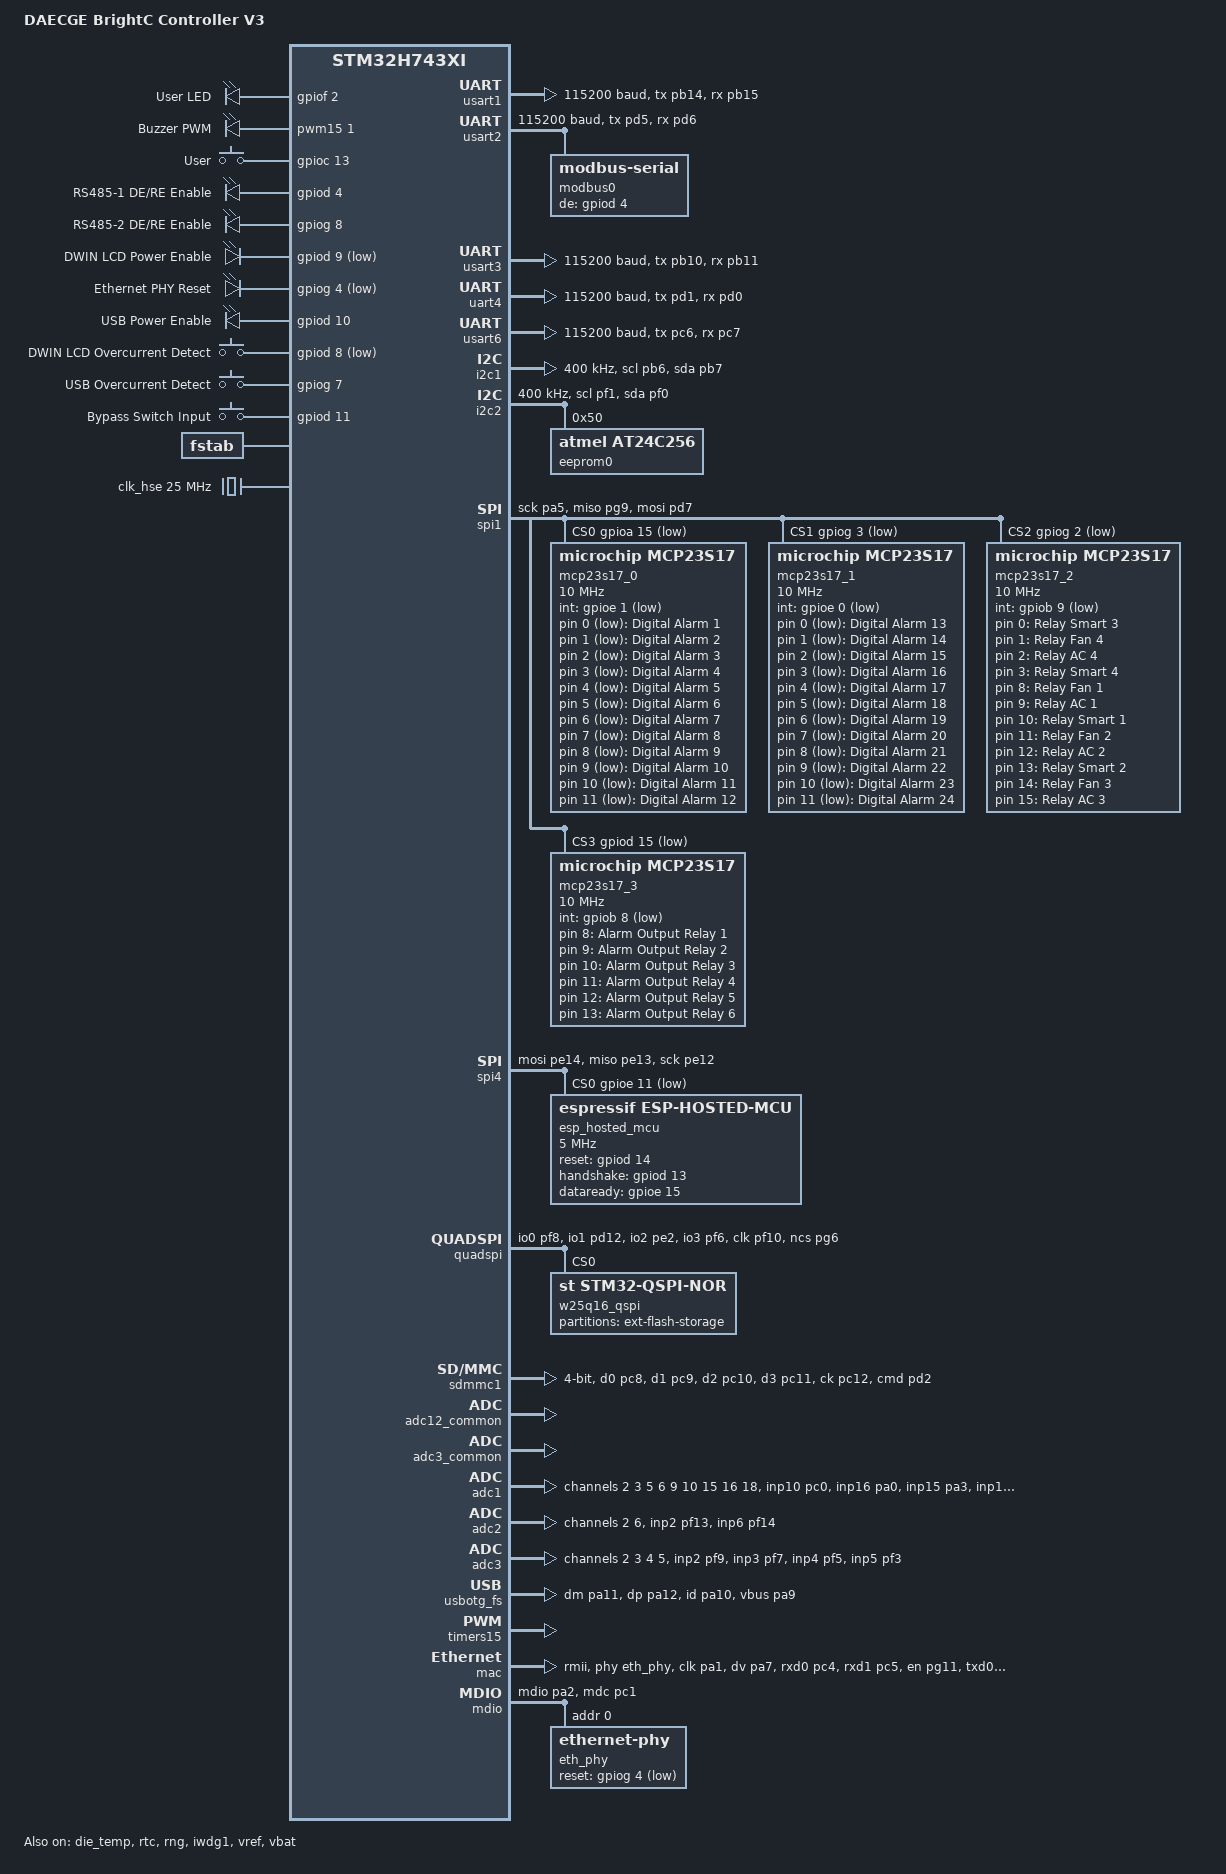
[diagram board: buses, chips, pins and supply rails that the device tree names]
/*
 * Copyright (c) 2026 DAECGE
 *
 * SPDX-License-Identifier: Apache-2.0
 *
 * BrightC Controller V3 — based on STM32H743ZIT6 (LQFP144)
 * Hardware reference: doc/brightcV3.md
 */

/dts-v1/;
#include <st/h7/stm32h743Xi.dtsi>
#include <st/h7/stm32h743zitx-pinctrl.dtsi>
#include <zephyr/dt-bindings/input/input-event-codes.h>
#include <zephyr/dt-bindings/dma/stm32_dma.h>

/ {
	model = "DAECGE BrightC Controller V3";
	compatible = "daecge,brightc-controllerv3";

	chosen {
		zephyr,console = &usart1;
		zephyr,shell-uart = &usart1;
		zephyr,sram = &sram0;
		zephyr,flash = &flash0;
		zephyr,dtcm = &dtcm;
		zephyr,code-partition = &slot0_partition;
		zephyr,wifi = &esp_hosted_mcu_wifi;
		zephyr,bt-hci = &esp_hosted_mcu_hci;
	};

	leds {
		compatible = "gpio-leds";

		user_led: led_0 {
			gpios = <&gpiof 2 GPIO_ACTIVE_HIGH>;
			label = "User LED";
		};
	};

	buzzer {
		compatible = "pwm-leds";

		buzzer_pwm: buzzer {
			pwms = <&pwm15 1 PWM_MSEC(1) PWM_POLARITY_NORMAL>;
			label = "Buzzer PWM";
		};
	};

	gpio_keys {
		compatible = "gpio-keys";

		user_button: button_0 {
			label = "User";
			gpios = <&gpioc 13 GPIO_ACTIVE_HIGH>;
			zephyr,code = <INPUT_KEY_0>;
		};
	};

	digital_alarms {
		compatible = "gpio-keys";

		alm_in_1: alm_in_1 { gpios = <&mcp23s17_0 0 (GPIO_ACTIVE_LOW | GPIO_PULL_UP)>; label = "Digital Alarm 1"; zephyr,code = <INPUT_KEY_1>; };
		alm_in_2: alm_in_2 { gpios = <&mcp23s17_0 1 (GPIO_ACTIVE_LOW | GPIO_PULL_UP)>; label = "Digital Alarm 2"; zephyr,code = <INPUT_KEY_2>; };
		alm_in_3: alm_in_3 { gpios = <&mcp23s17_0 2 (GPIO_ACTIVE_LOW | GPIO_PULL_UP)>; label = "Digital Alarm 3"; zephyr,code = <INPUT_KEY_3>; };
		alm_in_4: alm_in_4 { gpios = <&mcp23s17_0 3 (GPIO_ACTIVE_LOW | GPIO_PULL_UP)>; label = "Digital Alarm 4"; zephyr,code = <INPUT_KEY_4>; };
		alm_in_5: alm_in_5 { gpios = <&mcp23s17_0 4 (GPIO_ACTIVE_LOW | GPIO_PULL_UP)>; label = "Digital Alarm 5"; zephyr,code = <INPUT_KEY_5>; };
		alm_in_6: alm_in_6 { gpios = <&mcp23s17_0 5 (GPIO_ACTIVE_LOW | GPIO_PULL_UP)>; label = "Digital Alarm 6"; zephyr,code = <INPUT_KEY_6>; };
		alm_in_7: alm_in_7 { gpios = <&mcp23s17_0 6 (GPIO_ACTIVE_LOW | GPIO_PULL_UP)>; label = "Digital Alarm 7"; zephyr,code = <INPUT_KEY_7>; };
		alm_in_8: alm_in_8 { gpios = <&mcp23s17_0 7 (GPIO_ACTIVE_LOW | GPIO_PULL_UP)>; label = "Digital Alarm 8"; zephyr,code = <INPUT_KEY_8>; };
		alm_in_9: alm_in_9 { gpios = <&mcp23s17_0 8 (GPIO_ACTIVE_LOW | GPIO_PULL_UP)>; label = "Digital Alarm 9"; zephyr,code = <INPUT_KEY_9>; };
		alm_in_10: alm_in_10 { gpios = <&mcp23s17_0 9 (GPIO_ACTIVE_LOW | GPIO_PULL_UP)>; label = "Digital Alarm 10"; zephyr,code = <INPUT_KEY_A>; };
		alm_in_11: alm_in_11 { gpios = <&mcp23s17_0 10 (GPIO_ACTIVE_LOW | GPIO_PULL_UP)>; label = "Digital Alarm 11"; zephyr,code = <INPUT_KEY_B>; };
		alm_in_12: alm_in_12 { gpios = <&mcp23s17_0 11 (GPIO_ACTIVE_LOW | GPIO_PULL_UP)>; label = "Digital Alarm 12"; zephyr,code = <INPUT_KEY_C>; };

		alm_in_13: alm_in_13 { gpios = <&mcp23s17_1 0 (GPIO_ACTIVE_LOW | GPIO_PULL_UP)>; label = "Digital Alarm 13"; zephyr,code = <INPUT_KEY_D>; };
		alm_in_14: alm_in_14 { gpios = <&mcp23s17_1 1 (GPIO_ACTIVE_LOW | GPIO_PULL_UP)>; label = "Digital Alarm 14"; zephyr,code = <INPUT_KEY_E>; };
		alm_in_15: alm_in_15 { gpios = <&mcp23s17_1 2 (GPIO_ACTIVE_LOW | GPIO_PULL_UP)>; label = "Digital Alarm 15"; zephyr,code = <INPUT_KEY_F>; };
		alm_in_16: alm_in_16 { gpios = <&mcp23s17_1 3 (GPIO_ACTIVE_LOW | GPIO_PULL_UP)>; label = "Digital Alarm 16"; zephyr,code = <INPUT_KEY_G>; };
		alm_in_17: alm_in_17 { gpios = <&mcp23s17_1 4 (GPIO_ACTIVE_LOW | GPIO_PULL_UP)>; label = "Digital Alarm 17"; zephyr,code = <INPUT_KEY_H>; };
		alm_in_18: alm_in_18 { gpios = <&mcp23s17_1 5 (GPIO_ACTIVE_LOW | GPIO_PULL_UP)>; label = "Digital Alarm 18"; zephyr,code = <INPUT_KEY_I>; };
		alm_in_19: alm_in_19 { gpios = <&mcp23s17_1 6 (GPIO_ACTIVE_LOW | GPIO_PULL_UP)>; label = "Digital Alarm 19"; zephyr,code = <INPUT_KEY_J>; };
		alm_in_20: alm_in_20 { gpios = <&mcp23s17_1 7 (GPIO_ACTIVE_LOW | GPIO_PULL_UP)>; label = "Digital Alarm 20"; zephyr,code = <INPUT_KEY_K>; };
		alm_in_21: alm_in_21 { gpios = <&mcp23s17_1 8 (GPIO_ACTIVE_LOW | GPIO_PULL_UP)>; label = "Digital Alarm 21"; zephyr,code = <INPUT_KEY_L>; };
		alm_in_22: alm_in_22 { gpios = <&mcp23s17_1 9 (GPIO_ACTIVE_LOW | GPIO_PULL_UP)>; label = "Digital Alarm 22"; zephyr,code = <INPUT_KEY_M>; };
		alm_in_23: alm_in_23 { gpios = <&mcp23s17_1 10 (GPIO_ACTIVE_LOW | GPIO_PULL_UP)>; label = "Digital Alarm 23"; zephyr,code = <INPUT_KEY_N>; };
		alm_in_24: alm_in_24 { gpios = <&mcp23s17_1 11 (GPIO_ACTIVE_LOW | GPIO_PULL_UP)>; label = "Digital Alarm 24"; zephyr,code = <INPUT_KEY_O>; };
	};

	hvac_relays {
		compatible = "gpio-leds";

		relay_sm3: relay_sm3 { gpios = <&mcp23s17_2 0 GPIO_ACTIVE_HIGH>; label = "Relay Smart 3"; };
		relay_g4:  relay_g4  { gpios = <&mcp23s17_2 1 GPIO_ACTIVE_HIGH>; label = "Relay Fan 4"; };
		relay_aa4: relay_aa4 { gpios = <&mcp23s17_2 2 GPIO_ACTIVE_HIGH>; label = "Relay AC 4"; };
		relay_sm4: relay_sm4 { gpios = <&mcp23s17_2 3 GPIO_ACTIVE_HIGH>; label = "Relay Smart 4"; };

		relay_g1:  relay_g1  { gpios = <&mcp23s17_2 8 GPIO_ACTIVE_HIGH>; label = "Relay Fan 1"; };
		relay_aa1: relay_aa1 { gpios = <&mcp23s17_2 9 GPIO_ACTIVE_HIGH>; label = "Relay AC 1"; };
		relay_sm1: relay_sm1 { gpios = <&mcp23s17_2 10 GPIO_ACTIVE_HIGH>; label = "Relay Smart 1"; };
		relay_g2:  relay_g2  { gpios = <&mcp23s17_2 11 GPIO_ACTIVE_HIGH>; label = "Relay Fan 2"; };
		relay_aa2: relay_aa2 { gpios = <&mcp23s17_2 12 GPIO_ACTIVE_HIGH>; label = "Relay AC 2"; };
		relay_sm2: relay_sm2 { gpios = <&mcp23s17_2 13 GPIO_ACTIVE_HIGH>; label = "Relay Smart 2"; };
		relay_g3:  relay_g3  { gpios = <&mcp23s17_2 14 GPIO_ACTIVE_HIGH>; label = "Relay Fan 3"; };
		relay_aa3: relay_aa3 { gpios = <&mcp23s17_2 15 GPIO_ACTIVE_HIGH>; label = "Relay AC 3"; };
	};

	alarm_relays {
		compatible = "gpio-leds";

		alm_out_1: alm_out_1 { gpios = <&mcp23s17_3 8 GPIO_ACTIVE_HIGH>; label = "Alarm Output Relay 1"; };
		alm_out_2: alm_out_2 { gpios = <&mcp23s17_3 9 GPIO_ACTIVE_HIGH>; label = "Alarm Output Relay 2"; };
		alm_out_3: alm_out_3 { gpios = <&mcp23s17_3 10 GPIO_ACTIVE_HIGH>; label = "Alarm Output Relay 3"; };
		alm_out_4: alm_out_4 { gpios = <&mcp23s17_3 11 GPIO_ACTIVE_HIGH>; label = "Alarm Output Relay 4"; };
		alm_out_5: alm_out_5 { gpios = <&mcp23s17_3 12 GPIO_ACTIVE_HIGH>; label = "Alarm Output Relay 5"; };
		alm_out_6: alm_out_6 { gpios = <&mcp23s17_3 13 GPIO_ACTIVE_HIGH>; label = "Alarm Output Relay 6"; };
	};

	board_gpio_controls {
		compatible = "gpio-leds";

		rs485_1_de: rs485_1_de { gpios = <&gpiod 4 GPIO_ACTIVE_HIGH>; label = "RS485-1 DE/RE Enable"; };
		rs485_2_de: rs485_2_de { gpios = <&gpiog 8 GPIO_ACTIVE_HIGH>; label = "RS485-2 DE/RE Enable"; };
		dwin_en:    dwin_en    { gpios = <&gpiod 9 GPIO_ACTIVE_LOW>; label = "DWIN LCD Power Enable"; };
		eth_phy_rst: eth_phy_rst { gpios = <&gpiog 4 GPIO_ACTIVE_LOW>; label = "Ethernet PHY Reset"; };
		usb_pwr_on: usb_pwr_on { gpios = <&gpiod 10 GPIO_ACTIVE_HIGH>; label = "USB Power Enable"; };
	};

	board_gpio_inputs {
		compatible = "gpio-keys";

		dwin_ovc:   dwin_ovc   { gpios = <&gpiod 8 GPIO_ACTIVE_LOW>; label = "DWIN LCD Overcurrent Detect"; zephyr,code = <INPUT_KEY_1>; };
		usb_ovcr:   usb_ovcr   { gpios = <&gpiog 7 GPIO_ACTIVE_HIGH>; label = "USB Overcurrent Detect"; zephyr,code = <INPUT_KEY_2>; };
		sw_bypass:  sw_bypass  { gpios = <&gpiod 11 GPIO_ACTIVE_HIGH>; label = "Bypass Switch Input"; zephyr,code = <INPUT_KEY_3>; };
	};

	aliases {
		led0 = &user_led;
		rtc = &rtc;
		sw0 = &user_button;
		watchdog0 = &iwdg;
		die-temp0 = &die_temp;
		volt-sensor0 = &vref;
		volt-sensor1 = &vbat;
		eeprom0 = &eeprom0;
		storage-flash = &w25q16_qspi;
	};

	fstab {
		compatible = "zephyr,fstab";

		lfs_ext: lfs_ext {
			compatible = "zephyr,fstab,littlefs";
			mount-point = "/lfs";
			partition = <&external_flash_partition>;
			read-size = <16>;
			prog-size = <16>;
			cache-size = <64>;
			lookahead-size = <32>;
			block-cycles = <512>;
		};
	};
};

/* ---- Clocks ---- */

&clk_lsi {
	status = "okay";
};

&clk_lse {
	status = "okay";
};

&clk_hsi48 {
	status = "okay";
};

&clk_hse {
	clock-frequency = <DT_FREQ_M(25)>; /* 25 MHz crystal on PH0/PH1 */
	status = "okay";
};

&pll {
	div-m = <5>;    /* VCO in  = 25/5 = 5 MHz */
	mul-n = <192>;  /* VCO     = 5*192 = 960 MHz */
	div-p = <2>;    /* sysclk  = 960/2 = 480 MHz */
	div-q = <2>;
	div-r = <2>;
	clocks = <&clk_hse>;
	status = "okay";
};

&rcc {
	clocks = <&pll>;
	clock-frequency = <DT_FREQ_M(480)>;
	d1cpre = <1>;
	hpre = <2>;
	d1ppre = <2>;
	d2ppre1 = <2>;
	d2ppre2 = <2>;
	d3ppre = <2>;
};

&pwr {
	power-supply = "ldo";
};

/* ---- Serial: Console (USART1 on PB14/PB15) ---- */

&usart1 {
	pinctrl-0 = <&usart1_tx_pb14 &usart1_rx_pb15>;
	pinctrl-names = "default";
	current-speed = <115200>;
	status = "okay";
};

&usart2 {
	pinctrl-0 = <&usart2_tx_pd5 &usart2_rx_pd6>;
	pinctrl-names = "default";
	current-speed = <115200>;
	status = "okay";

	modbus0: modbus0 {
		compatible = "zephyr,modbus-serial";
		status = "okay";
		de-gpios = <&gpiod 4 GPIO_ACTIVE_HIGH>;
	};
};

/* ---- Serial: DWIN LCD (USART3 on PB10/PB11) ---- */

&usart3 {
	pinctrl-0 = <&usart3_tx_pb10 &usart3_rx_pb11>;
	pinctrl-names = "default";
	current-speed = <115200>;
	status = "okay";
};

/* ---- Serial: ESP32 (UART4 on PD1/TX, PD0/RX with DMA TX/RX) ---- */

&uart4 {
	pinctrl-0 = <&uart4_tx_pd1 &uart4_rx_pd0>;
	pinctrl-names = "default";
	current-speed = <115200>;
	dmas = <&dmamux1 5 64 (STM32_DMA_PERIPH_TX | STM32_DMA_PRIORITY_HIGH)>,
	       <&dmamux1 6 63 (STM32_DMA_PERIPH_RX | STM32_DMA_PRIORITY_HIGH)>;
	dma-names = "tx", "rx";
	status = "okay";
};

/* ---- Serial: RS485-2 (USART6 on PC6/PC7, DE on PG8) ---- */

&usart6 {
	pinctrl-0 = <&usart6_tx_pc6 &usart6_rx_pc7>;
	pinctrl-names = "default";
	current-speed = <115200>;
	status = "okay";
};

/* ---- I2C1: DHT22 sensor (PB7/SDA, PB6/SCL) ---- */

&i2c1 {
	pinctrl-0 = <&i2c1_scl_pb6 &i2c1_sda_pb7>;
	pinctrl-names = "default";
	clock-frequency = <I2C_BITRATE_FAST>;
	status = "okay";
};

/* ---- I2C2: AT24C256C EEPROM (PF1/SCL, PF0/SDA) ---- */

&i2c2 {
	pinctrl-0 = <&i2c2_scl_pf1 &i2c2_sda_pf0>;
	pinctrl-names = "default";
	clock-frequency = <I2C_BITRATE_FAST>;
	status = "okay";

	eeprom0: eeprom@50 {
		compatible = "atmel,at24c256", "atmel,at24";
		reg = <0x50>;
		size = <DT_SIZE_K(32)>;
		pagesize = <64>;
		address-width = <16>;
		timeout = <5>;
		status = "okay";
	};
};

/* ---- SPI1: MultiSPI for MCP23S17 I/O expanders (PD7/MOSI, PG9/MISO, PA5/SCK) ---- */

&spi1 {
	pinctrl-0 = <&spi1_sck_pa5 &spi1_miso_pg9 &spi1_mosi_pd7>;
	pinctrl-names = "default";
	cs-gpios = <&gpioa 15 GPIO_ACTIVE_LOW>,
		   <&gpiog 3 GPIO_ACTIVE_LOW>,
		   <&gpiog 2 GPIO_ACTIVE_LOW>,
		   <&gpiod 15 GPIO_ACTIVE_LOW>;
	status = "okay";

	mcp23s17_0: mcp23s17@0 {
		compatible = "microchip,mcp23s17";
		reg = <0>;
		spi-max-frequency = <10000000>;
		gpio-controller;
		#gpio-cells = <2>;
		int-gpios = <&gpioe 1 GPIO_ACTIVE_LOW>;
		status = "okay";
	};

	mcp23s17_1: mcp23s17@1 {
		compatible = "microchip,mcp23s17";
		reg = <1>;
		spi-max-frequency = <10000000>;
		gpio-controller;
		#gpio-cells = <2>;
		int-gpios = <&gpioe 0 GPIO_ACTIVE_LOW>;
		status = "okay";
	};

	mcp23s17_2: mcp23s17@2 {
		compatible = "microchip,mcp23s17";
		reg = <2>;
		spi-max-frequency = <10000000>;
		gpio-controller;
		#gpio-cells = <2>;
		int-gpios = <&gpiob 9 GPIO_ACTIVE_LOW>;
		status = "okay";
	};

	mcp23s17_3: mcp23s17@3 {
		compatible = "microchip,mcp23s17";
		reg = <3>;
		spi-max-frequency = <10000000>;
		gpio-controller;
		#gpio-cells = <2>;
		int-gpios = <&gpiob 8 GPIO_ACTIVE_LOW>;
		status = "okay";
	};
};

/* ---- SPI4: ESP32 esp-hosted-mcu (PE14/MOSI, PE13/MISO, PE12/SCK, PE11/NSS, PD13/HS, PE15/DR, PD14/NRST) ---- */

&spi4 {
	pinctrl-0 = <&spi4_mosi_pe14 &spi4_miso_pe13 &spi4_sck_pe12>;
	pinctrl-names = "default";
	cs-gpios = <&gpioe 11 GPIO_ACTIVE_LOW>;
	status = "okay";

	esp_hosted_mcu: esp-hosted-mcu@0 {
		compatible = "espressif,esp-hosted-mcu";
		reg = <0>;
		spi-max-frequency = <DT_FREQ_M(5)>;
		reset-gpios = <&gpiod 14 GPIO_ACTIVE_HIGH>;
		handshake-gpios = <&gpiod 13 GPIO_ACTIVE_HIGH>;
		dataready-gpios = <&gpioe 15 GPIO_ACTIVE_HIGH>;
		status = "okay";

		esp_hosted_mcu_wifi: wifi {
			compatible = "espressif,esp-hosted-mcu-wifi";
			status = "okay";
		};

		esp_hosted_mcu_hci: bt-hci {
			compatible = "espressif,esp-hosted-mcu-bt-hci";
			status = "okay";
		};
	};
};

/* ---- QSPI: external flash (PF8/IO0, PD12/IO1, PE2/IO2, PF6/IO3, PF10/CLK, PG6/NSS) ---- */

&quadspi {
	pinctrl-0 = <&quadspi_bk1_io0_pf8 &quadspi_bk1_io1_pd12
		     &quadspi_bk1_io2_pe2 &quadspi_bk1_io3_pf6
		     &quadspi_clk_pf10 &quadspi_bk1_ncs_pg6>;
	pinctrl-names = "default";
	flash-id = <1>;
	status = "okay";

	w25q16_qspi: qspi-nor-flash@0 {
		compatible = "st,stm32-qspi-nor";
		reg = <0>;
		size = <DT_SIZE_M(16)>; /* 16 Mbits = 2 MBytes */
		qspi-max-frequency = <40000000>;
		cs-high-time = <2>;
		status = "okay";
		spi-bus-width = <4>;
		writeoc = "PP_1_1_4";

		partitions {
			compatible = "fixed-partitions";
			#address-cells = <1>;
			#size-cells = <1>;

			external_flash_partition: partition@0 {
				label = "ext-flash-storage";
				reg = <0x00000000 DT_SIZE_M(2)>;
			};
		};
	};
};

/* ---- SDMMC1: microSD (PC8/D0, PC9/D1, PC10/D2, PC11/D3, PC12/CLK, PD2/CMD) ---- */

&sdmmc1 {
	pinctrl-0 = <&sdmmc1_d0_pc8 &sdmmc1_d1_pc9
		     &sdmmc1_d2_pc10 &sdmmc1_d3_pc11
		     &sdmmc1_ck_pc12 &sdmmc1_cmd_pd2>;
	pinctrl-names = "default";
	clocks = <&rcc STM32_CLOCK(AHB3, 16)>,
		 <&rcc STM32_SRC_HSI48 SDMMC_SEL(2)>;
	cd-gpios = <&gpiog 5 GPIO_ACTIVE_LOW>;
	disk-name = "SD";
	bus-width = <4>;
	clk-div = <4>;
	idma;
	status = "okay";
};

&sdmmc1_ck_pc12 {
	bias-disable;
};

/* ---- ADC Clock Configuration (Common Clusters) ---- */
&adc12_common {
	st,adc-clock-source = "SYNC";
	st,adc-prescaler = <4>;
	status = "okay";
};

&adc3_common {
	st,adc-clock-source = "SYNC";
	st,adc-prescaler = <4>;
	status = "okay";
};

/* ---- ADC1 (9 Canales: PC0, PA0, PA3, PA4, PA6, PB0, PB1, PF11, PF12) ---- */
&adc1 {
	pinctrl-0 = <&adc1_inp10_pc0 &adc1_inp16_pa0 &adc1_inp15_pa3
		     &adc1_inp18_pa4 &adc1_inp3_pa6 &adc1_inp9_pb0
		     &adc1_inp5_pb1 &adc1_inp2_pf11 &adc1_inp6_pf12>;
	pinctrl-names = "default";
	dmas = <&dmamux1 0 9 (STM32_DMA_PERIPH_TO_MEMORY | STM32_DMA_PRIORITY_HIGH)>;
	dma-names = "rx";
	status = "okay";
	#address-cells = <1>;
	#size-cells = <0>;

	channel@2  { reg = <2>;  zephyr,gain = "ADC_GAIN_1"; zephyr,reference = "ADC_REF_INTERNAL"; zephyr,acquisition-time = <ADC_ACQ_TIME_DEFAULT>; zephyr,resolution = <16>; };
	channel@3  { reg = <3>;  zephyr,gain = "ADC_GAIN_1"; zephyr,reference = "ADC_REF_INTERNAL"; zephyr,acquisition-time = <ADC_ACQ_TIME_DEFAULT>; zephyr,resolution = <16>; };
	channel@5  { reg = <5>;  zephyr,gain = "ADC_GAIN_1"; zephyr,reference = "ADC_REF_INTERNAL"; zephyr,acquisition-time = <ADC_ACQ_TIME_DEFAULT>; zephyr,resolution = <16>; };
	channel@6  { reg = <6>;  zephyr,gain = "ADC_GAIN_1"; zephyr,reference = "ADC_REF_INTERNAL"; zephyr,acquisition-time = <ADC_ACQ_TIME_DEFAULT>; zephyr,resolution = <16>; };
	channel@9  { reg = <9>;  zephyr,gain = "ADC_GAIN_1"; zephyr,reference = "ADC_REF_INTERNAL"; zephyr,acquisition-time = <ADC_ACQ_TIME_DEFAULT>; zephyr,resolution = <16>; };
	channel@a  { reg = <10>; zephyr,gain = "ADC_GAIN_1"; zephyr,reference = "ADC_REF_INTERNAL"; zephyr,acquisition-time = <ADC_ACQ_TIME_DEFAULT>; zephyr,resolution = <16>; };
	channel@f  { reg = <15>; zephyr,gain = "ADC_GAIN_1"; zephyr,reference = "ADC_REF_INTERNAL"; zephyr,acquisition-time = <ADC_ACQ_TIME_DEFAULT>; zephyr,resolution = <16>; };
	channel@10 { reg = <16>; zephyr,gain = "ADC_GAIN_1"; zephyr,reference = "ADC_REF_INTERNAL"; zephyr,acquisition-time = <ADC_ACQ_TIME_DEFAULT>; zephyr,resolution = <16>; };
	channel@12 { reg = <18>; zephyr,gain = "ADC_GAIN_1"; zephyr,reference = "ADC_REF_INTERNAL"; zephyr,acquisition-time = <ADC_ACQ_TIME_DEFAULT>; zephyr,resolution = <16>; };
};

/* ---- ADC2 (2 Canales: PF13, PF14) ---- */
&adc2 {
	pinctrl-0 = <&adc2_inp2_pf13 &adc2_inp6_pf14>;
	pinctrl-names = "default";
	dmas = <&dmamux1 1 10 (STM32_DMA_PERIPH_TO_MEMORY | STM32_DMA_PRIORITY_HIGH)>;
	dma-names = "rx";
	status = "okay";
	#address-cells = <1>;
	#size-cells = <0>;

	channel@2 { reg = <2>; zephyr,gain = "ADC_GAIN_1"; zephyr,reference = "ADC_REF_INTERNAL"; zephyr,acquisition-time = <ADC_ACQ_TIME_DEFAULT>; zephyr,resolution = <16>; };
	channel@6 { reg = <6>; zephyr,gain = "ADC_GAIN_1"; zephyr,reference = "ADC_REF_INTERNAL"; zephyr,acquisition-time = <ADC_ACQ_TIME_DEFAULT>; zephyr,resolution = <16>; };
};

/* ---- ADC3 (4 Canales: PF9, PF7, PF5, PF3) ---- */
&adc3 {
	pinctrl-0 = <&adc3_inp2_pf9 &adc3_inp3_pf7 &adc3_inp4_pf5 &adc3_inp5_pf3>;
	pinctrl-names = "default";
	dmas = <&dmamux1 2 115 (STM32_DMA_PERIPH_TO_MEMORY | STM32_DMA_PRIORITY_HIGH)>;
	dma-names = "rx";
	status = "okay";
	#address-cells = <1>;
	#size-cells = <0>;

	channel@2 { reg = <2>; zephyr,gain = "ADC_GAIN_1"; zephyr,reference = "ADC_REF_INTERNAL"; zephyr,acquisition-time = <ADC_ACQ_TIME_DEFAULT>; zephyr,resolution = <16>; };
	channel@3 { reg = <3>; zephyr,gain = "ADC_GAIN_1"; zephyr,reference = "ADC_REF_INTERNAL"; zephyr,acquisition-time = <ADC_ACQ_TIME_DEFAULT>; zephyr,resolution = <16>; };
	channel@4 { reg = <4>; zephyr,gain = "ADC_GAIN_1"; zephyr,reference = "ADC_REF_INTERNAL"; zephyr,acquisition-time = <ADC_ACQ_TIME_DEFAULT>; zephyr,resolution = <16>; };
	channel@5 { reg = <5>; zephyr,gain = "ADC_GAIN_1"; zephyr,reference = "ADC_REF_INTERNAL"; zephyr,acquisition-time = <ADC_ACQ_TIME_DEFAULT>; zephyr,resolution = <16>; };
};

/* ---- USB OTG FS (PA11/DM, PA12/DP, PA10/ID, PA9/VBUS) ---- */

zephyr_udc0: &usbotg_fs {
	pinctrl-0 = <&usb_otg_fs_dm_pa11 &usb_otg_fs_dp_pa12
		     &usb_otg_fs_id_pa10 &usb_otg_fs_vbus_pa9>;
	pinctrl-names = "default";
	status = "okay";
};

&die_temp {
	status = "okay";
};

/* ---- TIM15: Buzzer PWM (PE5 channel 1) ---- */

&timers15 {
	st,prescaler = <10000>;
	status = "okay";

	pwm15: pwm {
		status = "okay";
		pinctrl-0 = <&tim15_ch1_pe5>;
		pinctrl-names = "default";
	};
};

/* ---- RTC (clocked from LSE 32.768 kHz) ---- */

&rtc {
	clocks = <&rcc STM32_CLOCK(APB4, 16)>,
		 <&rcc STM32_SRC_LSE RTC_SEL(1)>;
	status = "okay";
};

&rng {
	status = "okay";
};

&backup_sram {
	status = "okay";
};

/* ---- Flash partitions (mcuboot layout) ---- */

&flash0 {
	partitions {
		#address-cells = <1>;
		#size-cells = <1>;
		ranges;

		/* 128 KB for bootloader */
		boot_partition: partition@0 {
			compatible = "zephyr,mapped-partition";
			label = "mcuboot";
			reg = <0x00000000 DT_SIZE_K(128)>;
			read-only;
		};

		/* 128 KB for settings storage */
		storage_partition: partition@20000 {
			compatible = "zephyr,mapped-partition";
			label = "storage";
			reg = <0x00020000 DT_SIZE_K(128)>;
		};

		/* 256 KB application image slot 0 */
		slot0_partition: partition@40000 {
			compatible = "zephyr,mapped-partition";
			label = "image-0";
			reg = <0x00040000 DT_SIZE_K(256)>;
		};

		/* 256 KB application image slot 1 */
		slot1_partition: partition@80000 {
			compatible = "zephyr,mapped-partition";
			label = "image-1";
			reg = <0x00080000 DT_SIZE_K(256)>;
		};

		/* 128 KB for swap */
		scratch_partition: partition@c0000 {
			compatible = "zephyr,mapped-partition";
			label = "image-scratch";
			reg = <0x000c0000 DT_SIZE_K(128)>;
		};
	};
};

&iwdg1 {
	status = "okay";
};

&vref {
	status = "okay";
};

&vbat {
	status = "okay";
};

/* ---- DMA Controllers & DMAMUX Multiplexer ---- */
&dma1 {
	status = "okay";
};

&dma2 {
	status = "okay";
};

&dmamux1 {
	status = "okay";
};

/* ---- Ethernet MAC (LAN8742A RMII + PG4 PHY Reset) ---- */
&mac {
	status = "okay";
	pinctrl-0 = <&eth_ref_clk_pa1
		     &eth_crs_dv_pa7
		     &eth_rxd0_pc4
		     &eth_rxd1_pc5
		     &eth_tx_en_pg11
		     &eth_txd0_pg13
		     &eth_txd1_pb13>;
	pinctrl-names = "default";
	phy-connection-type = "rmii";
	phy-handle = <&eth_phy>;
};

&mdio {
	status = "okay";
	pinctrl-0 = <&eth_mdio_pa2 &eth_mdc_pc1>;
	pinctrl-names = "default";

	eth_phy: ethernet-phy@0 {
		compatible = "ethernet-phy";
		reg = <0x00>;
		reset-gpios = <&gpiog 4 GPIO_ACTIVE_LOW>;
	};
};
